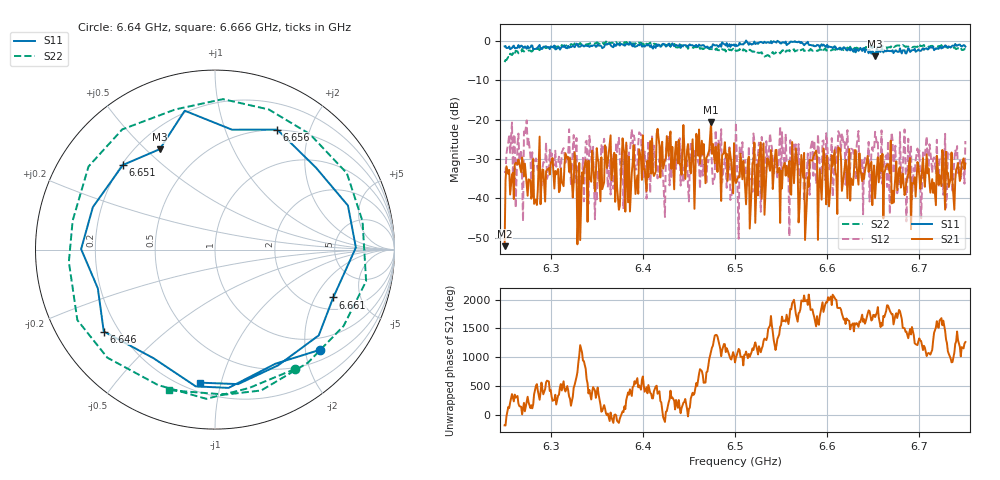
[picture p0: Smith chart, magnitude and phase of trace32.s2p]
# Hz S RI R 50
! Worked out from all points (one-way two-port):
!   401 points, 6.25 GHz to 6.75 GHz, reference 50 ohm
!   highest |S21| = -20.68 dB at 6.474 GHz (marker M1); lowest = -52.1 dB at 6.25 GHz (marker M2)
!   lowest |S11| = -3.9 dB at 6.652 GHz (marker M3), VSWR 4.54, Z = 14.6 + j27.7 ohm
!   |S11| at or under -10 dB: nowhere
!   |S22| runs from -5.4 to 0.1 dB; largest |S21 - S12| = 0.14
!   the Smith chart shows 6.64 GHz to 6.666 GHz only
!   S11 on the Smith chart (normalised r, x): 6.64 GHz: 0.71, -2.32; 6.646 GHz: 0.14, -0.32; 6.651 GHz: 0.20, +0.38; 6.656 GHz: 0.50, +1.53; 6.661 GHz: 2.64, -2.85; 6.666 GHz: 0.26, -0.86
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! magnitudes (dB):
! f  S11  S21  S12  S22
! 6.25 GHz  -1.4  -52.1  -33.1  -5.4
! 6.264 GHz  -1.7  -31.4  -26.3  -2.7
! 6.334 GHz  -1.1  -33.4  -35.9  -1.0
! 6.362 GHz  -0.8  -30.7  -37.2  -0.8
! 6.372 GHz  -0.9  -37.0  -28.2  -0.7
! 6.389 GHz  -1.4  -30.9  -26.0  -0.9
! 6.418 GHz  -1.0  -26.6  -30.0  -1.0
! 6.474 GHz  -1.5  -20.7  -25.5  -2.1
! 6.5 GHz  -1.3  -35.1  -33.5  -2.2
! 6.565 GHz  -0.1  -31.5  -30.9  -2.7
! 6.579 GHz  -0.2  -34.6  -28.6  -2.2
! 6.584 GHz  -1.2  -30.4  -25.1  -2.5
! 6.592 GHz  -1.7  -32.7  -32.1  -2.1
! 6.64 GHz  -1.8  -35.1  -30.9  -1.9
! 6.646 GHz  -2.3  -32.0  -40.8  -1.3
! 6.651 GHz  -3.1  -31.7  -27.7  -1.5
! 6.652 GHz  -3.9  -40.0  -23.1  -1.8
! 6.656 GHz  -2.5  -35.9  -33.5  -1.6
! 6.661 GHz  -3.0  -45.1  -33.9  -1.6
! 6.666 GHz  -2.5  -31.3  -25.4  -1.7
! 6.668 GHz  -2.6  -33.7  -44.0  -1.6
! 6.75 GHz  -1.5  -31.2  -25.4  -2.1
